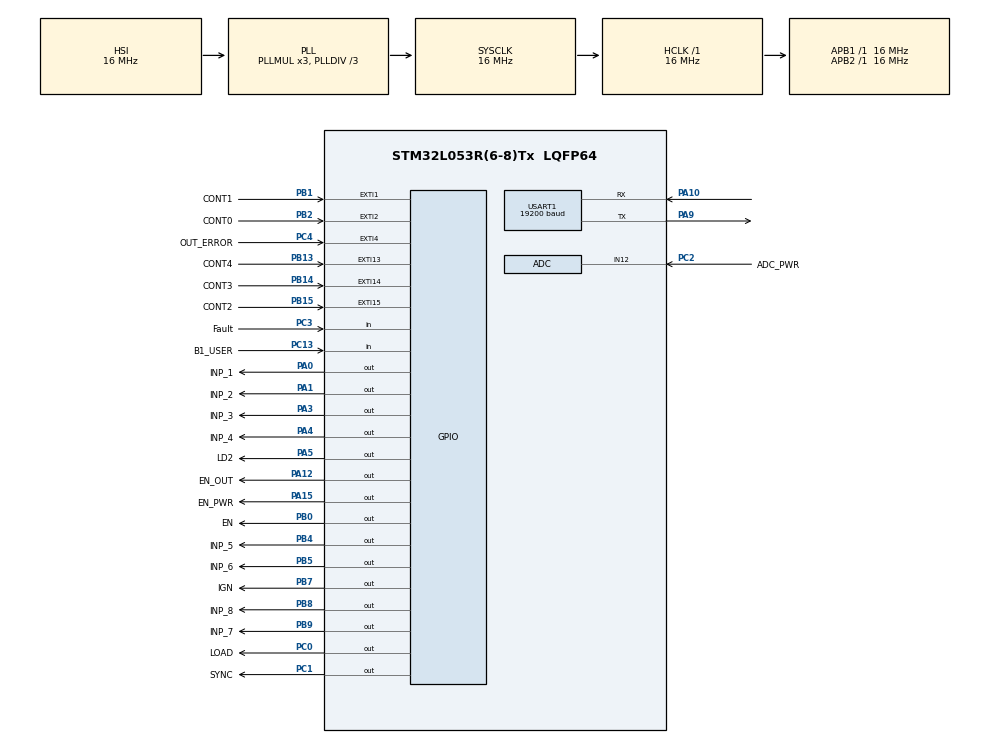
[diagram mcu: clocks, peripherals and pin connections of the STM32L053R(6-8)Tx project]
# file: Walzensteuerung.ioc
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ADC.ClockPrescaler=ADC_CLOCK_SYNC_PCLK_DIV1
ADC.ContinuousConvMode=DISABLE
ADC.DMAContinuousRequests=DISABLE
ADC.DataAlign=ADC_DATAALIGN_RIGHT
ADC.DiscontinuousConvMode=DISABLE
ADC.EOCSelection=ADC_EOC_SINGLE_CONV
ADC.EnableAnalogWatchDog=false
ADC.ExternalTrigConv=ADC_SOFTWARE_START
ADC.ExternalTrigConvEdge=ADC_EXTERNALTRIGCONVEDGE_NONE
ADC.LowPowerAutoPowerOff=DISABLE
ADC.LowPowerAutoWait=DISABLE
ADC.LowPowerFrequencyMode=DISABLE
ADC.Overrun=ADC_OVR_DATA_PRESERVED
ADC.OversamplingMode=DISABLE
ADC.Resolution=ADC_RESOLUTION_12B
ADC.SamplingTime=ADC_SAMPLETIME_1CYCLE_5
ADC.ScanConvMode=ADC_SCAN_DIRECTION_FORWARD
IWDG.Prescaler=IWDG_PRESCALER_256
Mcu.Family=STM32L0
Mcu.Name=STM32L053R(6-8)Tx
Mcu.Package=LQFP64
NVIC.TIM21_IRQn=true\:0\:0\:false\:false\:true\:true
NVIC.USART1_IRQn=true\:0\:0\:false\:false\:true\:true
PA0.GPIO_Label=INP_1
PA0.GPIO_PuPd=GPIO_NOPULL
PA0.Signal=GPIO_Output
PA1.GPIO_Label=INP_2
PA1.GPIO_PuPd=GPIO_NOPULL
PA1.Signal=GPIO_Output
PA10.Mode=Asynchronous
PA10.Signal=USART1_RX
PA12.GPIO_Label=EN_OUT
PA12.Signal=GPIO_Output
PA13.GPIO_Label=TMS
PA13.Mode=Serial_Wire
PA13.Signal=SYS_SWDIO
PA14.GPIO_Label=TCK
PA14.Mode=Serial_Wire
PA14.Signal=SYS_SWCLK
PA15.GPIO_Label=EN_PWR
PA15.Signal=GPIO_Output
PA3.GPIO_Label=INP_3
PA3.GPIO_PuPd=GPIO_NOPULL
PA3.Signal=GPIO_Output
PA4.GPIO_Label=INP_4
PA4.Signal=GPIO_Output
PA5.GPIO_Label=LD2
PA5.Signal=GPIO_Output
PA9.Mode=Asynchronous
PA9.Signal=USART1_TX
PB0.GPIO_Label=EN
PB0.Signal=GPIO_Output
PB1.GPIO_Label=CONT1
PB1.Signal=GPXTI1
PB13.GPIO_Label=CONT4
PB13.Signal=GPXTI13
PB14.GPIO_Label=CONT3
PB14.Signal=GPXTI14
PB15.GPIO_Label=CONT2
PB15.Signal=GPXTI15
PB2.GPIO_Label=CONT0
PB2.Signal=GPXTI2
PB4.GPIO_Label=INP_5
PB4.Signal=GPIO_Output
PB5.GPIO_Label=INP_6
PB5.Signal=GPIO_Output
PB7.GPIO_Label=IGN
PB7.Signal=GPIO_Output
PB8.GPIO_Label=INP_8
PB8.Signal=GPIO_Output
PB9.GPIO_Label=INP_7
PB9.Signal=GPIO_Output
PC0.GPIO_Label=LOAD
PC0.Signal=GPIO_Output
PC1.GPIO_Label=SYNC
PC1.Signal=GPIO_Output
PC13.GPIO_Label=B1_USER
PC13.Signal=GPIO_Input
PC14-OSC32_IN.Signal=RCC_OSC32_IN
PC15-OSC32_OUT.Signal=RCC_OSC32_OUT
PC2.GPIO_Label=ADC_PWR
PC2.Mode=IN12
PC2.Signal=ADC_IN12
PC3.GPIO_Label=Fault
PC3.Signal=GPIO_Input
PC4.GPIO_Label=OUT_ERROR
PC4.Signal=GPXTI4
PH0-OSC_IN.Signal=RCC_OSC_IN
PH1-OSC_OUT.Signal=RCC_OSC_OUT
ProjectManager.HeapSize=0x200
ProjectManager.StackSize=0x400
ProjectManager.TargetToolchain=MDK-ARM V5
RCC.AHBFreq_Value=16000000
RCC.APB1Freq_Value=16000000
RCC.APB1TimFreq_Value=16000000
RCC.APB2Freq_Value=16000000
RCC.APB2TimFreq_Value=16000000
RCC.HCLKFreq_Value=16000000
RCC.HSE_VALUE=8000000
RCC.HSI16_VALUE=16000000
RCC.HSI48_VALUE=48000000
RCC.HSI_VALUE=16000000
RCC.LSEState=RCC_LSE_ON
RCC.LSE_VALUE=32768
RCC.MSI_VALUE=2097000
RCC.PLLDIV=RCC_PLLDIV_3
RCC.SYSCLKFreq_VALUE=16000000
RCC.SYSCLKSource=RCC_SYSCLKSOURCE_PLLCLK
RCC.VCOOutputFreq_Value=48000000
TIM21.CounterMode=TIM_COUNTERMODE_DOWN
TIM21.Period=1000
TIM21.Prescaler=16000
USART1.BaudRate=19200
USART1.Mode=MODE_TX_RX
USART1.OneBitSampling=UART_ONE_BIT_SAMPLE_DISABLE
USART1.VirtualMode-Asynchronous=VM_ASYNC
USART1.WordLength=WORDLENGTH_8B
VP_IWDG_VS_IWDG.Mode=IWDG_Activate
VP_TIM21_VS_ClockSourceINT.Mode=Internal
board=NUCLEO-L053R8

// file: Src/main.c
/**
  ******************************************************************************
  * File Name          : main.c
  * Description        : Main program body
  ******************************************************************************
  ** This notice applies to any and all portions of this file
  * that are not between comment pairs USER CODE BEGIN and
  * USER CODE END. Other portions of this file, whether
  * inserted by the user or by software development tools
  * are owned by their respective copyright owners.
  *
  * COPYRIGHT(c) 2018 STMicroelectronics
  *
  * Redistribution and use in source and binary forms, with or without modification,
  * are permitted provided that the following conditions are met:
  *   1. Redistributions of source code must retain the above copyright notice,
  *      this list of conditions and the following disclaimer.
  *   2. Redistributions in binary form must reproduce the above copyright notice,
  *      this list of conditions and the following disclaimer in the documentation
  *      and/or other materials provided with the distribution.
  *   3. Neither the name of STMicroelectronics nor the names of its contributors
  *      may be used to endorse or promote products derived from this software
  *      without specific prior written permission.
  *
  * THIS SOFTWARE IS PROVIDED BY THE COPYRIGHT HOLDERS AND CONTRIBUTORS "AS IS"
  * AND ANY EXPRESS OR IMPLIED WARRANTIES, INCLUDING, BUT NOT LIMITED TO, THE
  * IMPLIED WARRANTIES OF MERCHANTABILITY AND FITNESS FOR A PARTICULAR PURPOSE ARE
  * DISCLAIMED. IN NO EVENT SHALL THE COPYRIGHT HOLDER OR CONTRIBUTORS BE LIABLE
  * FOR ANY DIRECT, INDIRECT, INCIDENTAL, SPECIAL, EXEMPLARY, OR CONSEQUENTIAL
  * DAMAGES (INCLUDING, BUT NOT LIMITED TO, PROCUREMENT OF SUBSTITUTE GOODS OR
  * SERVICES; LOSS OF USE, DATA, OR PROFITS; OR BUSINESS INTERRUPTION) HOWEVER
  * CAUSED AND ON ANY THEORY OF LIABILITY, WHETHER IN CONTRACT, STRICT LIABILITY,
  * OR TORT (INCLUDING NEGLIGENCE OR OTHERWISE) ARISING IN ANY WAY OUT OF THE USE
  * OF THIS SOFTWARE, EVEN IF ADVISED OF THE POSSIBILITY OF SUCH DAMAGE.
  *
  ******************************************************************************
  */

#include "main.h"
#include "stm32l0xx_hal.h"
#include "adc.h"
#include "iwdg.h"
#include "tim.h"
#include "usart.h"
#include "gpio.h"

/* USER CODE BEGIN Includes */
#include "statemachine.h"
/* USER CODE END Includes */

/* USER CODE BEGIN PV */
/* Private variables ---------------------------------------------------------*/
uint32_t adc_volt = 0;
uint8_t Uart_receive = 0;
uint8_t tim_1s = 0;
/* USER CODE END PV */

void SystemClock_Config(void);

/* USER CODE BEGIN PFP */
/* Private function prototypes -----------------------------------------------*/

/* USER CODE END PFP */

int main(void)
{

  /* USER CODE BEGIN 1 */
	uint8_t rx_buf[1] = "\0";
	uint8_t rx_buf_len = 1;
//	uint8_t tx_buf[1] = "A";
//	uint8_t tx_buf_len = 1;

	TStateMachine tstateMachine;
	TRemote tremote;

	HAL_StatusTypeDef state_driver;
	TState_Status state_status;

  /* USER CODE END 1 */

  /* MCU Configuration----------------------------------------------------------*/

  /* Reset of all peripherals, Initializes the Flash interface and the Systick. */
  HAL_Init();

  /* USER CODE BEGIN Init */
	tstateMachine.currState = ST_OFF;  // set default state of state machine
  /* USER CODE END Init */

  /* Configure the system clock */
  SystemClock_Config();

  /* Initialize all configured peripherals */
  MX_GPIO_Init();
  MX_ADC_Init();
  MX_USART1_UART_Init();
  MX_IWDG_Init();
  MX_TIM21_Init();

  /* USER CODE BEGIN 2 */
	Remote_Init(&tremote);
	SetGPOtoDefault();

//	HAL_UART_Transmit_IT(&huart1, tx_buf, tx_buf_len);
	HAL_UART_Receive_IT(&huart1, rx_buf, rx_buf_len);		// start receive of UART (Interrupt Mode)
  /* USER CODE END 2 */

  /* Infinite loop */
  while (1)
  {

  /* USER CODE BEGIN 3 */

		if((GetBatWarn() 	==	GPIO_PIN_RESET)	||
			(GetOilWarn() 	==	GPIO_PIN_RESET)	||
			(GetTempWarn() 	== 	GPIO_PIN_RESET)	)/*||			// check whether an Error from Engine is available
			(GetOutError() 	==	GPIO_PIN_RESET)	||			// check whether an Error from Remote Power is available
			(GetFault()		==	GPIO_PIN_RESET))					// check whether an Error from Output Driver is available */
		{
			SetGPOtoDefault();
			MX_IWDG_Refresh();

			HAL_Delay(5000);			// Wait 5 seconds
		}
		else
		{
//			EnableRemote(); // defect

//			adc_volt = get_Voltage();

			if((huart1.RxState == HAL_UART_STATE_READY) && (Uart_receive == 0))
			{
				state_driver = HAL_UART_Receive_IT(&huart1, rx_buf, rx_buf_len);		// start receive of UART (Interrupt Mode)
				if (state_driver != HAL_OK)
				{
					while(1) {SetGPOtoDefault();}				// Error Case
				}
			}

//			if(adc_volt >= 0x750)		// Voltage high than 9V; Calc Value!!!!!!!!!
//				HAL_GPIO_WritePin(LD2_GPIO_Port, LD2_Pin, GPIO_PIN_SET);
//			else
//				HAL_GPIO_WritePin(LD2_GPIO_Port, LD2_Pin, GPIO_PIN_RESET);

			if (Uart_receive == 1)
			{
				state_status = RunStateIteration(rx_buf, &tstateMachine, &tremote);

				HAL_TIM_Base_Stop(&htim21);			// stop timeout
				tim_1s = 0;											// reset timeout flag
				__HAL_TIM_SetCounter(&htim21, 1000);	// set counter value to start
				HAL_TIM_Base_Start_IT(&htim21);	// activete timeout to check whether the next uart msg will received in time

				Uart_receive = 0;			// reset Uart receive flag
			}
			else if(tim_1s)		// timeout is activeted
			{
				SetGPOtoDefault();

				HAL_TIM_Base_Stop(&htim21);			// stop timeout
				HAL_TIM_Base_Start_IT(&htim21);	// activete timeout to check whether the next uart msg will received in time

				tim_1s = 0;			// reset timeout flag
			}

			MX_IWDG_Refresh();
		}
  }
  /* USER CODE END 3 */

}

/** System Clock Configuration
*/
void SystemClock_Config(void)
{

  RCC_OscInitTypeDef RCC_OscInitStruct;
  RCC_ClkInitTypeDef RCC_ClkInitStruct;
  RCC_PeriphCLKInitTypeDef PeriphClkInit;

    /**Configure the main internal regulator output voltage
    */
  __HAL_PWR_VOLTAGESCALING_CONFIG(PWR_REGULATOR_VOLTAGE_SCALE1);

    /**Initializes the CPU, AHB and APB busses clocks
    */
  RCC_OscInitStruct.OscillatorType = RCC_OSCILLATORTYPE_HSI|RCC_OSCILLATORTYPE_LSI;
  RCC_OscInitStruct.HSIState = RCC_HSI_ON;
  RCC_OscInitStruct.HSICalibrationValue = 16;
  RCC_OscInitStruct.LSIState = RCC_LSI_ON;
  RCC_OscInitStruct.PLL.PLLState = RCC_PLL_ON;
  RCC_OscInitStruct.PLL.PLLSource = RCC_PLLSOURCE_HSI;
  RCC_OscInitStruct.PLL.PLLMUL = RCC_PLLMUL_3;
  RCC_OscInitStruct.PLL.PLLDIV = RCC_PLLDIV_3;
  if (HAL_RCC_OscConfig(&RCC_OscInitStruct) != HAL_OK)
  {
    _Error_Handler(__FILE__, __LINE__);
  }

    /**Initializes the CPU, AHB and APB busses clocks
    */
  RCC_ClkInitStruct.ClockType = RCC_CLOCKTYPE_HCLK|RCC_CLOCKTYPE_SYSCLK
                              |RCC_CLOCKTYPE_PCLK1|RCC_CLOCKTYPE_PCLK2;
  RCC_ClkInitStruct.SYSCLKSource = RCC_SYSCLKSOURCE_PLLCLK;
  RCC_ClkInitStruct.AHBCLKDivider = RCC_SYSCLK_DIV1;
  RCC_ClkInitStruct.APB1CLKDivider = RCC_HCLK_DIV1;
  RCC_ClkInitStruct.APB2CLKDivider = RCC_HCLK_DIV1;

  if (HAL_RCC_ClockConfig(&RCC_ClkInitStruct, FLASH_LATENCY_0) != HAL_OK)
  {
    _Error_Handler(__FILE__, __LINE__);
  }

  PeriphClkInit.PeriphClockSelection = RCC_PERIPHCLK_USART1;
  PeriphClkInit.Usart1ClockSelection = RCC_USART1CLKSOURCE_PCLK2;
  if (HAL_RCCEx_PeriphCLKConfig(&PeriphClkInit) != HAL_OK)
  {
    _Error_Handler(__FILE__, __LINE__);
  }

    /**Configure the Systick interrupt time
    */
  HAL_SYSTICK_Config(HAL_RCC_GetHCLKFreq()/1000);

    /**Configure the Systick
    */
  HAL_SYSTICK_CLKSourceConfig(SYSTICK_CLKSOURCE_HCLK);

  /* SysTick_IRQn interrupt configuration */
  HAL_NVIC_SetPriority(SysTick_IRQn, 0, 0);
}

/* USER CODE BEGIN 4 */
/**
  * @brief  This function is executed in case of UART Interrupt.
  * @param  Handler of UART
  * @retval Flag Uart_receive is set
  */
void HAL_UART_RxCpltCallback(UART_HandleTypeDef *huart)
{
	UNUSED(huart);
	Uart_receive = 1;
}

/* USER CODE END 4 */

void _Error_Handler(char * file, int line)
{
  while(1)
  {
  }
}

/************************ (C) COPYRIGHT STMicroelectronics *****END OF FILE****/
